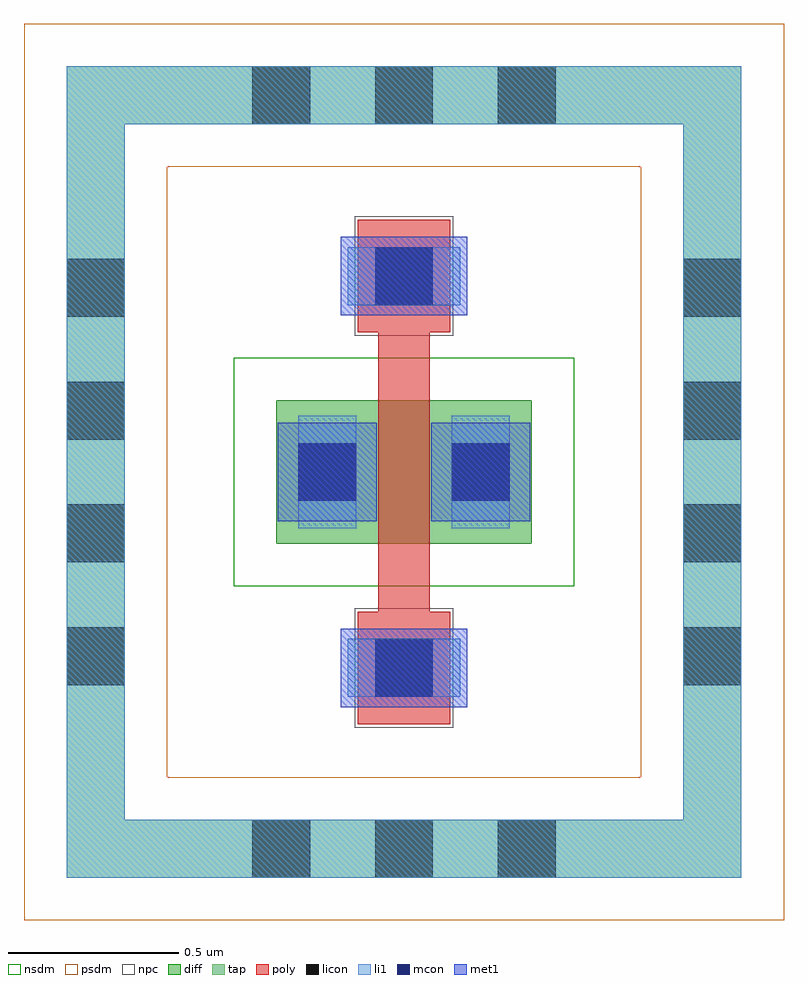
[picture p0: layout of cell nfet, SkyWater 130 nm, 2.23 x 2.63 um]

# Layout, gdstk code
import gdstk
lib = gdstk.Library(unit=1e-6, precision=1e-09)
def R(c, l, rs):  # rectangles x0, y0, x1, y1
    for r in rs: c.add(gdstk.rectangle(r[:2], r[2:], *l))
def A(c, l, x, y, w, h, nx, ny, dx, dy):  # array of equal rectangles
    R(c, l, [(x+i*dx, y+j*dy, x+i*dx+w, y+j*dy+h) for i in range(nx) for j in range(ny)])
def P(c, l, *ps):  # polygons
    for p in ps: c.add(gdstk.Polygon(p, *l))
diff = (65, 20)
tap = (65, 44)
poly = (66, 20)
licon = (66, 44)
li1 = (67, 20)
mcon = (67, 44)
met1 = (68, 20)
nsdm = (93, 44)
psdm = (94, 20)
npc = (95, 20)

nfet = lib.new_cell('nfet')
R(nfet, diff, [(0,0,0.75,0.42)])
P(nfet, tap, [(-0.615,-0.98),(-0.615,1.23),(-0.445,1.23),(-0.445,-0.81),(1.195,-0.81),(1.195,1.23),(-0.615,1.23),(-0.615,1.4),(1.365,1.4),(1.365,-0.98)])
R(nfet, poly, [(0.24,-0.53,0.51,-0.2), (0.3,-0.2,0.45,0.62), (0.24,0.62,0.51,0.95)])
A(nfet, licon, -0.07, -0.98, 0.17, 0.17, 3, 2, 0.36, 2.21)
A(nfet, licon, -0.615, -0.415, 0.17, 0.17, 1, 4, 0, 0.36)
A(nfet, licon, 1.195, -0.415, 0.17, 0.17, 1, 4, 0, 0.36)
R(nfet, licon, [(0.29,-0.45,0.46,-0.28), (0.065,0.125,0.235,0.295), (0.515,0.125,0.685,0.295), (0.29,0.7,0.46,0.87)])
R(nfet, li1, [(0.21,-0.45,0.54,-0.28), (0.065,0.045,0.235,0.375), (0.515,0.045,0.685,0.375), (0.21,0.7,0.54,0.87)])
P(nfet, li1, [(-0.615,-0.98),(-0.615,1.23),(-0.445,1.23),(-0.445,-0.81),(1.195,-0.81),(1.195,1.23),(-0.615,1.23),(-0.615,1.4),(1.365,1.4),(1.365,-0.98)])
R(nfet, mcon, [(0.29,-0.45,0.46,-0.28), (0.065,0.125,0.235,0.295), (0.515,0.125,0.685,0.295), (0.29,0.7,0.46,0.87)])
R(nfet, met1, [(0.19,-0.48,0.56,-0.25), (0.005,0.065,0.295,0.355), (0.455,0.065,0.745,0.355), (0.19,0.67,0.56,0.9)])
R(nfet, nsdm, [(-0.125,-0.125,0.875,0.545)])
P(nfet, psdm, [(-0.74,-1.105),(-0.74,1.105),(-0.32,1.105),(-0.32,-0.685),(1.07,-0.685),(1.07,1.105),(-0.74,1.105),(-0.74,1.525),(1.49,1.525),(1.49,-1.105)])
R(nfet, npc, [(0.23,-0.54,0.52,-0.19), (0.23,0.61,0.52,0.96)])

lib.write_gds('nfet.gds')
